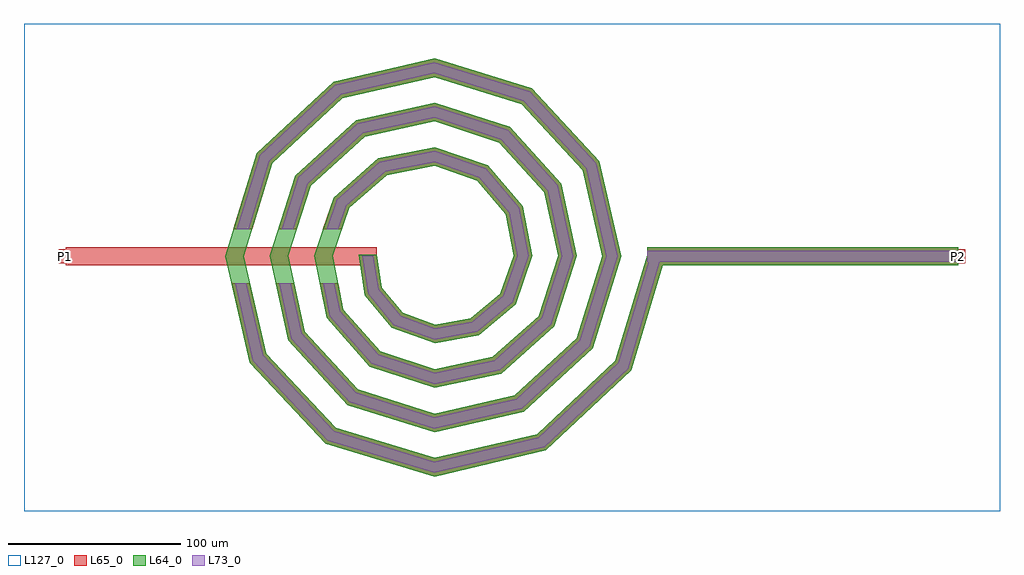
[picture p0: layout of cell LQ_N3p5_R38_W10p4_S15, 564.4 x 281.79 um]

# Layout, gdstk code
import gdstk
lib = gdstk.Library(unit=1e-6, precision=1e-09)
def R(c, l, rs):  # rectangles x0, y0, x1, y1
    for r in rs: c.add(gdstk.rectangle(r[:2], r[2:], *l))
def P(c, l, *ps):  # polygons
    for p in ps: c.add(gdstk.Polygon(p, *l))
L64_0 = (64, 0)
L65_0 = (65, 0)
L73_0 = (73, 0)
L127_0 = (127, 0)

lq_n3p5_r38_w10p4_s15 = lib.new_cell('LQ_N3p5_R38_W10p4_S15')
R(lq_n3p5_r38_w10p4_s15, L64_0, [(123.161,-5.2,303.161,5.2)])
P(lq_n3p5_r38_w10p4_s15, L64_0, [(-30.235,-18.066),(-18.243,-32.602),(0.478,-39.495),(21.213,-35.828),(38.128,-21.509),(45.914,0.418),(41.415,24.375),(24.762,43.663),(0.372,52.334),(-27.548,46.997),(-49.203,28.007),(-58.755,0.335),(-52.575,-30.729),(-31.246,-54.748),(0.305,-65.177),(33.915,-58.151),(60.296,-34.48),(71.599,0.279),(63.724,37.105),(37.711,65.846),(0.258,78.021),(-40.298,69.296),(-71.399,40.939),(-84.443,0.239),(-74.867,-43.494),(-44.165,-76.952),(0.223,-90.866),(46.693,-80.437),(82.507,-47.389),(97.288,0.209),(86.006,49.892),(50.611,88.063),(0.197,103.711),(-53.093,91.574),(-93.619,53.832),(-110.134,0.186),(-97.141,-56.296),(-57.052,-99.177),(0.176,-116.557),(59.499,-102.709),(104.734,-60.272),(123.383,1.503),(133.339,-1.503),(113.885,-65.948),(64.58,-112.202),(0.176,-127.319),(-62.744,-108.317),(-106.644,-61.36),(-120.895,0.186),(-102.749,59.541),(-58.139,101.086),(0.197,114.472),(56.339,97.181),(95.529,54.917),(108.048,0.209),(91.611,-53.139),(51.694,-89.973),(0.223,-101.625),(-49.94,-86.041),(-84.418,-48.469),(-95.201,0.239),(-80.47,46.742),(-45.242,78.863),(0.258,88.777),(43.547,74.897),(73.31,42.012),(82.353,0.279),(69.322,-40.355),(38.779,-67.759),(0.305,-75.929),(-37.166,-63.745),(-62.209,-35.542),(-69.504,0.335),(-58.165,33.981),(-32.3,56.662),(0.372,63.079),(30.803,52.58),(51.119,29.05),(56.653,0.418),(46.989,-27.634),(25.789,-45.581),(0.478,-50.226),(-24.476,-41.39),(-40.049,-22.512),(-43.57,0.834),(-33.305,0.834)])
R(lq_n3p5_r38_w10p4_s15, L65_0, [(-213.237,-5.2,-33.237,5.2), (123.161,-5.2,303.161,5.2), (-217.237,-4,-209.237,4), (299.161,-4,307.161,4)])
P(lq_n3p5_r38_w10p4_s15, L65_0, [(-97.142,-56.296),(-57.053,-99.177),(0.176,-116.557),(59.499,-102.709),(104.735,-60.272),(123.383,1.503),(133.339,-1.503),(113.885,-65.948),(64.58,-112.202),(0.176,-127.319),(-62.744,-108.317),(-106.644,-61.36),(-117.24,-15.6),(-106.565,-15.6)],
  [(-74.867,-43.495),(-44.165,-76.952),(0.223,-90.866),(46.693,-80.437),(82.507,-47.389),(97.288,0.209),(86.006,49.892),(50.611,88.063),(0.197,103.711),(-53.093,91.574),(-93.62,53.832),(-105.308,15.6),(-116.183,15.6),(-102.749,59.541),(-58.139,101.086),(0.197,114.472),(56.339,97.181),(95.53,54.917),(108.048,0.209),(91.611,-53.139),(51.694,-89.973),(0.223,-101.625),(-49.94,-86.041),(-84.418,-48.469),(-91.695,-15.6),(-81.043,-15.6)],
  [(-52.575,-30.729),(-31.246,-54.748),(0.305,-65.177),(33.915,-58.151),(60.296,-34.48),(71.599,0.279),(63.725,37.105),(37.711,65.846),(0.258,78.021),(-40.298,69.297),(-71.399,40.939),(-79.426,15.6),(-90.335,15.6),(-80.47,46.742),(-45.242,78.863),(0.258,88.777),(43.547,74.897),(73.31,42.012),(82.353,0.279),(69.322,-40.355),(38.779,-67.759),(0.305,-75.929),(-37.166,-63.745),(-62.209,-35.542),(-66.264,-15.6),(-55.651,-15.6)],
  [(-18.243,-32.602),(0.478,-39.495),(21.213,-35.829),(38.128,-21.509),(45.914,0.419),(41.415,24.375),(24.763,43.663),(0.372,52.334),(-27.548,46.997),(-49.203,28.007),(-53.385,15.6),(-64.36,15.6),(-58.165,33.981),(-32.3,56.662),(0.372,63.079),(30.803,52.58),(51.119,29.05),(56.653,0.419),(46.99,-27.634),(25.789,-45.581),(0.478,-50.226),(-24.476,-41.39),(-40.049,-22.512),(-43.57,0.834),(-33.305,0.834),(-30.235,-18.066)])
R(lq_n3p5_r38_w10p4_s15, L73_0, [(123.161,-3.2,303.161,3.2)])
P(lq_n3p5_r38_w10p4_s15, L73_0, [(-98.969,-57.27),(-58.147,-100.935),(0.109,-118.626),(60.476,-104.534),(106.494,-61.363),(125.297,0.925),(131.424,0.925),(112.125,-64.856),(63.603,-110.376),(0.109,-125.249),(-61.65,-106.559),(-104.817,-60.386),(-115.187,-15.6),(-108.618,-15.6)],
  [(-76.704,-44.451),(-45.275,-78.7),(0.137,-92.935),(47.654,-82.271),(84.258,-48.494),(99.358,0.129),(87.837,50.859),(51.713,89.816),(0.121,105.781),(-54.064,93.403),(-95.375,54.93),(-107.399,15.6),(-114.092,15.6),(-100.994,58.443),(-57.169,99.257),(0.121,112.403),(55.238,95.427),(93.698,53.951),(105.979,0.129),(89.861,-52.033),(50.732,-88.139),(0.137,-99.556),(-48.829,-84.293),(-82.581,-47.512),(-89.646,-15.6),(-83.091,-15.6)],
  [(-54.428,-31.654),(-32.385,-56.478),(0.187,-67.245),(34.85,-59.999),(62.032,-35.61),(73.667,0.172),(65.568,38.049),(38.833,67.587),(0.159,80.09),(-41.249,71.136),(-73.143,42.055),(-81.524,15.6),(-88.237,15.6),(-78.725,45.626),(-44.291,77.024),(0.159,86.709),(42.425,73.156),(71.467,41.068),(80.285,0.172),(67.586,-39.225),(37.844,-65.911),(0.187,-73.861),(-36.027,-62.015),(-60.357,-34.617),(-64.223,-15.6),(-57.692,-15.6)],
  [(-19.442,-34.292),(0.294,-41.559),(22.093,-37.704),(39.832,-22.687),(47.979,0.258),(43.281,25.274),(25.924,45.378),(0.229,54.401),(-28.462,48.856),(-50.927,29.156),(-55.495,15.6),(-62.249,15.6),(-56.441,32.833),(-31.386,54.804),(0.229,61.013),(29.642,50.865),(49.253,28.151),(54.588,0.258),(45.285,-26.456),(24.909,-43.705),(0.294,-48.162),(-23.278,-39.7),(-38.162,-21.657),(-41.596,0.513),(-35.279,0.513),(-32.122,-18.921)])
R(lq_n3p5_r38_w10p4_s15, L127_0, [(-237.237,-147.319,327.161,134.472)])
lq_n3p5_r38_w10p4_s15.add(gdstk.Label('P2', (303.161,0), layer=65, texttype=0))
lq_n3p5_r38_w10p4_s15.add(gdstk.Label('P1', (-213.237,0), layer=65, texttype=0))
lq_n3p5_r38_w10p4_s15.add(gdstk.Label('P2', (307.161,0), layer=145, texttype=0))
lq_n3p5_r38_w10p4_s15.add(gdstk.Label('P1', (-217.237,0), layer=145, texttype=0))

lib.write_gds('LQ_N3p5_R38_W10p4_S15.gds')
